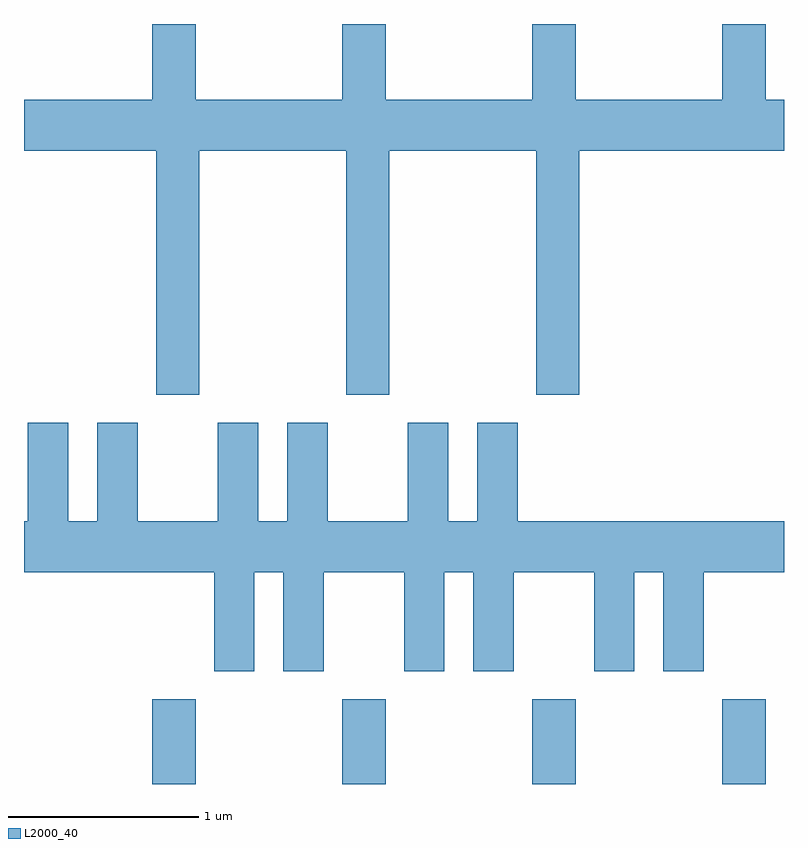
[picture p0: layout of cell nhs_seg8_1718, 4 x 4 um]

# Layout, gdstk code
import gdstk
lib = gdstk.Library(unit=1e-6, precision=1e-09)
def R(c, l, rs):  # rectangles x0, y0, x1, y1
    for r in rs: c.add(gdstk.rectangle(r[:2], r[2:], *l))
def A(c, l, x, y, w, h, nx, ny, dx, dy):  # array of equal rectangles
    R(c, l, [(x+i*dx, y+j*dy, x+i*dx+w, y+j*dy+h) for i in range(nx) for j in range(ny)])
def P(c, l, *ps):  # polygons
    for p in ps: c.add(gdstk.Polygon(p, *l))
L2000_40 = (2000, 40)

nhs_seg8_1718 = lib.new_cell('nhs_seg8_1718')
A(nhs_seg8_1718, L2000_40, 236.286, 1906.342, 0.228, 0.447, 4, 1, 1, 0)
P(nhs_seg8_1718, L2000_40, [(236.534,1909.676),(237.306,1909.676),(237.306,1908.391),(237.534,1908.391),(237.534,1909.676),(238.306,1909.676),(238.306,1908.391),(238.534,1908.391),(238.534,1909.676),(239.611,1909.676),(239.611,1909.944),(239.514,1909.944),(239.514,1910.342),(239.286,1910.342),(239.286,1909.944),(238.514,1909.944),(238.514,1910.342),(238.286,1910.342),(238.286,1909.944),(237.514,1909.944),(237.514,1910.342),(237.286,1910.342),(237.286,1909.944),(236.514,1909.944),(236.514,1910.342),(236.286,1910.342),(236.286,1909.944),(235.611,1909.944),(235.611,1909.676),(236.306,1909.676),(236.306,1908.391),(236.534,1908.391)],
  [(236.824,1907.456),(236.976,1907.456),(236.976,1906.936),(237.189,1906.936),(237.189,1907.456),(237.611,1907.456),(237.611,1906.936),(237.824,1906.936),(237.824,1907.456),(237.976,1907.456),(237.976,1906.936),(238.189,1906.936),(238.189,1907.456),(238.611,1907.456),(238.611,1906.936),(238.824,1906.936),(238.824,1907.456),(238.976,1907.456),(238.976,1906.936),(239.189,1906.936),(239.189,1907.456),(239.611,1907.456),(239.611,1907.724),(238.209,1907.724),(238.209,1908.244),(237.996,1908.244),(237.996,1907.724),(237.844,1907.724),(237.844,1908.244),(237.631,1908.244),(237.631,1907.724),(237.209,1907.724),(237.209,1908.244),(236.996,1908.244),(236.996,1907.724),(236.844,1907.724),(236.844,1908.244),(236.631,1908.244),(236.631,1907.724),(236.209,1907.724),(236.209,1908.244),(235.996,1908.244),(235.996,1907.724),(235.844,1907.724),(235.844,1908.244),(235.631,1908.244),(235.631,1907.724),(235.611,1907.724),(235.611,1907.456),(236.611,1907.456),(236.611,1906.936),(236.824,1906.936)])

lib.write_gds('nhs_seg8_1718.gds')
